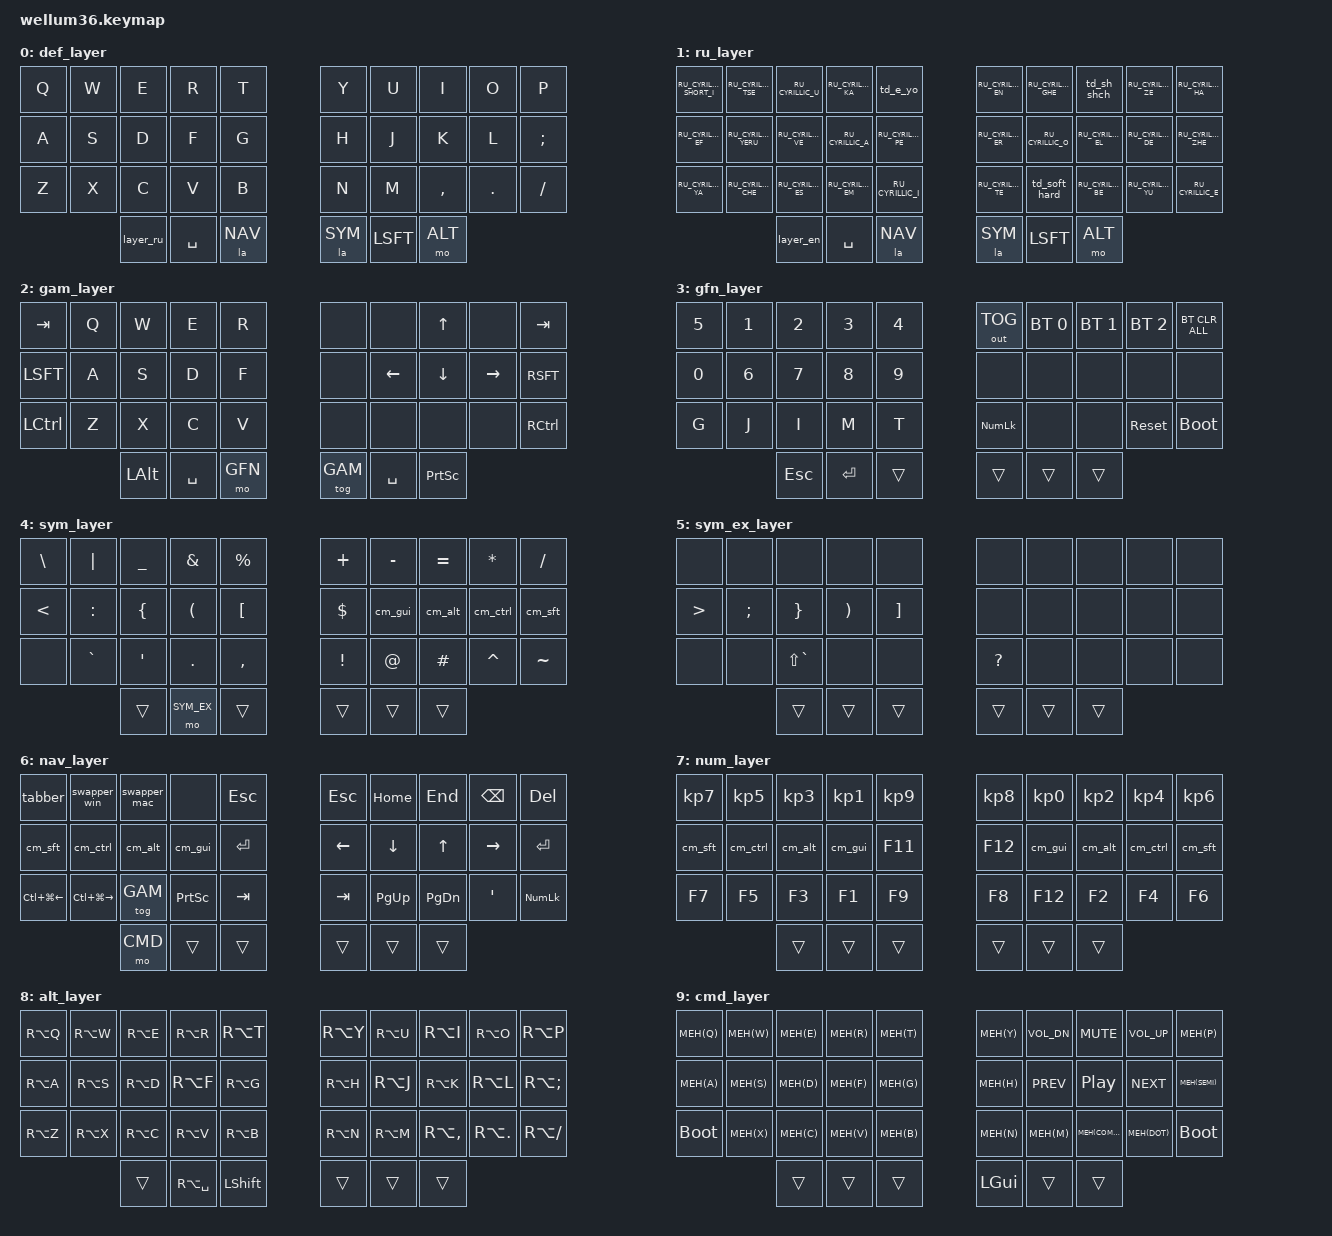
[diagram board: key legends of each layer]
#include <locale/keys_ru.h>
#include <behaviors.dtsi>
#include <dt-bindings/zmk/outputs.h>
#include <dt-bindings/zmk/keys.h>
#include <dt-bindings/zmk/bt.h>

#include <dt-bindings/zmk/ext_power.h>

#define _ &kp
#define ___ &none
#define ______ &trans

#define DEF 0
#define RU 1
#define GAM 2
#define GFN 3
#define SYM 4
#define SYM_EX 5
#define NAV 6
#define NUM 7
#define ALT 8
#define CMD 9

#define MEH(key) LS(LC(LA(key)))

#define SQT GRAVE
#define DQT LS(GRAVE)
#define GRV RA(GRAVE)
#define PIP LS(BSLH)
#define BSL RA(BSLH)
#define NBSP RA(SPACE)

#define NSPC LC(LG(RIGHT))
#define PSPC LC(LG(LEFT))

// custom implementation of modified callum-mods,
// which can be released on second keypress
// and also work with swapper and/or tabber

#define PARAM_1 0
#define PARAM_2 0

#define MACRO(NAME, COMPATIBLE, BINDING_CELLS, BINDINGS) \
    NAME: NAME { \
        compatible = COMPATIBLE; \
        #binding-cells = <BINDING_CELLS>; \
        wait-ms = <0>; \
        tap-ms = <0>; \
        bindings = \
            <BINDINGS>; \
    };

#define MACRO_NO_PARAM(NAME, BINDINGS)  MACRO(NAME, "zmk,behavior-macro"          , 0, BINDINGS)
#define MACRO_ONE_PARAM(NAME, BINDINGS) MACRO(NAME, "zmk,behavior-macro-one-param", 1, BINDINGS)
#define MACRO_TWO_PARAM(NAME, BINDINGS) MACRO(NAME, "zmk,behavior-macro-two-param", 2, BINDINGS)

#define MAX_TIMER __UINT32_MAX__ // around 50 days

#define STICKY_FOREVER(NAME, BIND) \
    NAME: NAME { \
        compatible = "zmk,behavior-sticky-key"; \
        #binding-cells = <1>; \
        bindings = <BIND>; \
        release-after-ms = <MAX_TIMER>; \
        ignore-modifiers; \
    };

#define MODMORPH(NAME, NORMAL, MORPHED, MODS, KEEP_MODS) \
    NAME: NAME { \
        compatible = "zmk,behavior-mod-morph"; \
        #binding-cells = <0>; \
        bindings = <NORMAL>, <MORPHED>; \
        mods = <(MODS)>; \
        keep-mods = <(KEEP_MODS)>; \
    };

&sk {
        release-after-ms = <60000>;
};

/ {
    behaviors {
        MACRO_ONE_PARAM(
            m_release_key_twice,
            &macro_release
                &macro_param_1to1 &kp PARAM_1
                &macro_param_1to1 &kp PARAM_1
        )


        MACRO_ONE_PARAM(
            m_press_key_twice,
            &macro_press
                &macro_param_1to1 &kp PARAM_1
                &macro_param_1to1 &kp PARAM_1
            &macro_pause_for_release
            &macro_tap
                &m_release_key_twice PARAM_1
        )

        STICKY_FOREVER(sticky_forever, &m_press_key_twice)

        MODMORPH(
            cm_gui,
            &sticky_forever LGUI,
            &m_release_key_twice LGUI,
            MOD_LGUI,
            MOD_LGUI
        )

        MODMORPH(
            cm_alt,
            &sticky_forever LALT,
            &m_release_key_twice LALT,
            MOD_LALT,
            MOD_LALT
        )

        MODMORPH(
            cm_ctrl,
            &sticky_forever LCTRL,
            &m_release_key_twice LCTRL,
            MOD_LCTL,
            MOD_LCTL
        )

        MODMORPH(
            cm_sft,
            &sticky_forever LSHIFT,
            &m_release_key_twice LSHIFT,
            MOD_LSFT,
            MOD_LSFT
        )

        MACRO_TWO_PARAM(
            m_hold_mod_press_key,
            &macro_press
                &macro_param_1to1 &kp PARAM_1
            &macro_tap
                &macro_param_2to1 &kp PARAM_2
        )

        MODMORPH(
            tabber,
            &m_hold_mod_press_key LCTRL TAB,
            &kp TAB,
            MOD_LCTL,
            MOD_LCTL
        )

        MODMORPH(
            swapper_win,
            &m_hold_mod_press_key LALT TAB,
            &kp TAB,
            MOD_LALT,
            MOD_LALT
        )

        MODMORPH(
            swapper_mac,
            &m_hold_mod_press_key LGUI TAB,
            &kp TAB,
            MOD_LGUI,
            MOD_LGUI
        )

        MACRO_ONE_PARAM(
            la,
            &macro_tap
                &kp 0 // do nothing, fire all sticky keys
            &macro_press
                &macro_param_1to1 &mo PARAM_1
            &macro_pause_for_release
            &macro_release
                &macro_param_1to1 &mo PARAM_1
                &kp LSHFT
                &kp LCTRL
                &kp LALT
                &kp LGUI
        )

        // Tap-dance behaviors for Russian letters
        td_e_yo: tap_dance_e_yo {
            compatible = "zmk,behavior-tap-dance";
            #binding-cells = <0>;
            tapping-term-ms = <200>;
            bindings = <&kp RU_CYRILLIC_IE>, <&kp RU_CYRILLIC_IO>; // Е/Ё
        };

        td_sh_shch: tap_dance_sh_shch {
            compatible = "zmk,behavior-tap-dance";
            #binding-cells = <0>;
            tapping-term-ms = <200>;
            bindings = <&kp RU_CYRILLIC_SHA>, <&kp RU_CYRILLIC_SHCHA>; // Ш/Щ
        };

        td_soft_hard: tap_dance_soft_hard {
            compatible = "zmk,behavior-tap-dance";
            #binding-cells = <0>;
            tapping-term-ms = <200>;
            bindings = <&kp RU_CYRILLIC_SOFT_SIGN>, <&kp RU_CYRILLIC_HARD_SIGN>; // Ь/Ъ
        };
    };

    macros {
        to_ru: to_ru {
            compatible = "zmk,behavior-macro";
            #binding-cells = <0>;
            bindings = <&kp LS(LC(N2))>; // Ctrl+Shift+2
            label = "TO_RU";
        };

        to_en: to_en {
            compatible = "zmk,behavior-macro";
            #binding-cells = <0>;
            bindings = <&kp LS(LC(N1))>; // Ctrl+Shift+1
            label = "TO_EN";
        };

        layer_en: layer_en {
            compatible = "zmk,behavior-macro";
            #binding-cells = <0>;
            bindings = <&to 0 &to_en>; // switch to DEF layer + system switch
            label = "LAYER_EN";
        };

        layer_ru: layer_ru {
            compatible = "zmk,behavior-macro";
            #binding-cells = <0>;
            bindings = <&to 1 &to_ru>; // switch to RU layer + system switch
            label = "LAYER_RU";
        };
    };

    combos {
        compatible = "zmk,combos";
        
        cmben {
            bindings = <&layer_en>; // switch to English
            key-positions = <3 4>; // R+T
            layers = <0 1>; // works on DEF and RU layers
        };

        cmbru {
            bindings = <&layer_ru>; // switch to Russian
            key-positions = <5 6>; // Y+U
            layers = <0 1>; // works on DEF and RU layers
        };
    };

    conditional_layers {
        compatible = "zmk,conditional-layers";
        tri_layer {
            if-layers  = <NAV SYM>;
            then-layer = <NUM>;
        };
    };
};

/ {
    keymap {
        compatible = "zmk,keymap";

        def_layer {
            bindings = <
_ Q          _ W          _ E          _ R         _ T             _ Y          _ U          _ I          _ O          _ P
_ A          _ S          _ D          _ F         _ G             _ H          _ J          _ K          _ L          _ SEMI
_ Z          _ X          _ C          _ V         _ B             _ N          _ M          _ COMMA      _ DOT        _ FSLH
                          &layer_ru    _ SPACE     &la NAV         &la SYM      _ LSFT       &mo ALT
            >;
        };

        ru_layer {
            bindings = <
_ RU_CYRILLIC_SHORT_I   _ RU_CYRILLIC_TSE         _ RU_CYRILLIC_U          _ RU_CYRILLIC_KA        &td_e_yo                     _ RU_CYRILLIC_EN  _ RU_CYRILLIC_GHE        &td_sh_shch              _ RU_CYRILLIC_ZE        _ RU_CYRILLIC_HA
_ RU_CYRILLIC_EF        _ RU_CYRILLIC_YERU        _ RU_CYRILLIC_VE         _ RU_CYRILLIC_A         _ RU_CYRILLIC_PE             _ RU_CYRILLIC_ER  _ RU_CYRILLIC_O          _ RU_CYRILLIC_EL         _ RU_CYRILLIC_DE        _ RU_CYRILLIC_ZHE
_ RU_CYRILLIC_YA        _ RU_CYRILLIC_CHE         _ RU_CYRILLIC_ES         _ RU_CYRILLIC_EM        _ RU_CYRILLIC_I              _ RU_CYRILLIC_TE  &td_soft_hard            _ RU_CYRILLIC_BE         _ RU_CYRILLIC_YU        _ RU_CYRILLIC_E
                                                                           &layer_en               _ SPACE     &la NAV         &la SYM      _ LSFT       &mo ALT
            >;
        };

        gam_layer {
            bindings = <
_ TAB        _ Q          _ W          _ E         _ R             ___          ___          _ UP         ___          _ TAB
_ LSFT       _ A          _ S          _ D         _ F             ___          _ LEFT       _ DOWN       _ RIGHT      _ RSFT
_ LCTRL      _ Z          _ X          _ C         _ V             ___          ___          ___          ___          _ RCTRL
                          _ LALT       _ SPACE     &mo GFN         &tog GAM     _ SPACE      _ PSCRN
            >;
        };

        gfn_layer {
            bindings = <
_ N5         _ N1         _ N2         _ N3        _ N4            &out OUT_TOG &bt BT_SEL 0 &bt BT_SEL 1 &bt BT_SEL 2 &bt BT_CLR_ALL
_ N0         _ N6         _ N7         _ N8        _ N9            ___          ___          ___          ___          ___
_ G          _ J          _ I          _ M         _ T             _ KP_NUM     ___          ___          &sys_reset   &bootloader
                          _ ESC        _ RET       ______          ______       ______       ______
            >;
        };

        sym_layer {
            bindings = <
_ BSLH       _ PIPE       _ UNDER      _ AMPS       _ PRCNT         _ PLUS       _ MINUS      _ EQUAL      _ STAR       _ FSLH
_ LT         _ COLON      _ LBRC       _ LPAR       _ LBKT          _ DLLR       &cm_gui      &cm_alt      &cm_ctrl     &cm_sft
___          _ GRAVE      _ APOS       _ DOT        _ COMMA         _ EXCL       _ AT         _ HASH       _ CARET      _ TILDE
                          ______       &mo SYM_EX  ______          ______       ______       ______
            >;
        };

        sym_ex_layer {
            bindings = <
___          ___          ___          ___          ___             ___          ___          ___          ___          ___
_ GT         _ SEMI       _ RBRC       _ RPAR       _ RBKT          ___          ___          ___          ___          ___
___          ___          _ DQT        ___          ___             _ QMARK      ___          ___          ___          ___
                          ______       ______      ______          ______       ______       ______
            >;
        };

        nav_layer {
            bindings = <
&tabber      &swapper_win &swapper_mac ___         _ ESC           _ ESC        _ HOME       _ END        _ BSPC       _ DEL
&cm_sft      &cm_ctrl     &cm_alt      &cm_gui     _ RET           _ LEFT       _ DOWN       _ UP         _ RIGHT      _ RET
_ PSPC       _ NSPC       &tog GAM     _ PSCRN     _ TAB           _ TAB        _ PG_UP      _ PG_DN      _ APOS       _ KP_NUM
                          &mo CMD      ______      ______          ______       ______       ______
            >;
        };

        num_layer {
            bindings = <
_ KP_N7      _ KP_N5      _ KP_N3      _ KP_N1     _ KP_N9         _ KP_N8      _ KP_N0      _ KP_N2      _ KP_N4      _ KP_N6
&cm_sft      &cm_ctrl     &cm_alt      &cm_gui     _ F11           _ F12        &cm_gui      &cm_alt      &cm_ctrl      &cm_sft
_ F7         _ F5         _ F3         _ F1        _ F9            _ F8         _ F12        _ F2         _ F4         _ F6
                          ______       ______      ______          ______       ______       ______
            >;
        };

        alt_layer {
            bindings = <
_ RA(Q)      _ RA(W)      _ RA(E)      _ RA(R)     _ RA(T)         _ RA(Y)      _ RA(U)      _ RA(I)      _ RA(O)      _ RA(P)
_ RA(A)      _ RA(S)      _ RA(D)      _ RA(F)     _ RA(G)         _ RA(H)      _ RA(J)      _ RA(K)      _ RA(L)      _ RA(SEMI)
_ RA(Z)      _ RA(X)      _ RA(C)      _ RA(V)     _ RA(B)         _ RA(N)      _ RA(M)      _ RA(COMMA)  _ RA(DOT)    _ RA(FSLH)
                          ______       _ NBSP      _ LSHFT         ______       ______       ______
            >;
        };

        cmd_layer {
            bindings = <
_ MEH(Q)     _ MEH(W)     _ MEH(E)     _ MEH(R)    _ MEH(T)        _ MEH(Y)     _ C_VOL_DN   _ C_MUTE     _ C_VOL_UP   _ MEH(P)
_ MEH(A)     _ MEH(S)     _ MEH(D)     _ MEH(F)    _ MEH(G)        _ MEH(H)     _ C_PREV     _ C_PP       _ C_NEXT     _ MEH(SEMI)
&bootloader  _ MEH(X)     _ MEH(C)     _ MEH(V)    _ MEH(B)        _ MEH(N)     _ MEH(M)     _ MEH(COMMA) _ MEH(DOT)   &bootloader
                          ______       ______      ______          _ LGUI       ______       ______
            >;
        };
    };
};
